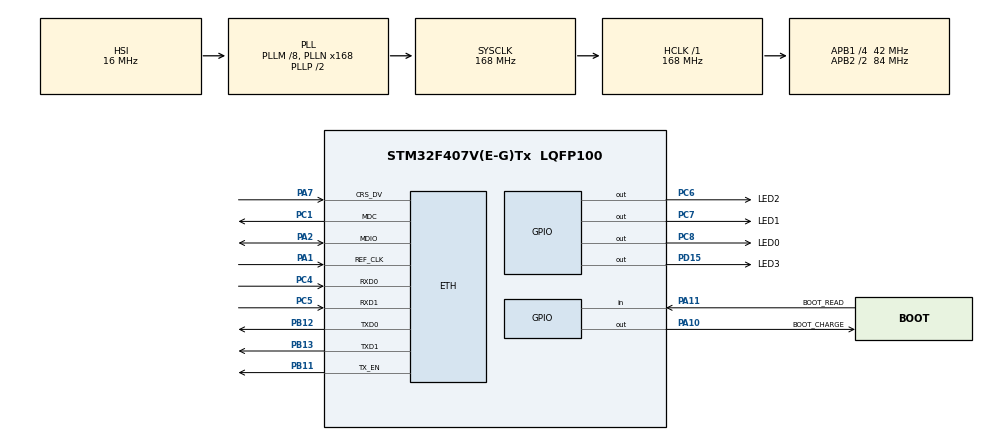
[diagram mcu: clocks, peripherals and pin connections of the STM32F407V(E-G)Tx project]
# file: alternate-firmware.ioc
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ETH.MediaInterface=HAL_ETH_RMII_MODE
ETH.PHY_DUPLEX_STATUS=0x0010
ETH.PHY_ISFR_INT4=0x0010
ETH.PHY_Name_RMII=LAN8742A_PHY_ADDRESS
ETH.PHY_SPEED_STATUS=0x0004
ETH.PHY_SR=0x1F
ETH.PhyAddress=0
FREERTOS.HEAP_NUMBER=4
FREERTOS.Tasks01=tcpTask,1,512,StartTCPTask,Default,NULL,Dynamic,NULL,NULL;heartbeatTask,0,256,StartHeartbeatTask,Default,NULL,Dynamic,NULL,NULL;rxMessages,-3,256,StartRXMessages,Default,NULL,Dynamic,NULL,NULL
FREERTOS.configMAX_PRIORITIES=16
FREERTOS.configMINIMAL_STACK_SIZE=128
FREERTOS.configTOTAL_HEAP_SIZE=0x6000
FREERTOS.configUSE_COUNTING_SEMAPHORES=1
FREERTOS.configUSE_NEWLIB_REENTRANT=1
LWIP.BSP.number=1
LWIP.CMSIS_VERSION-Enabled=1
LWIP.GATEWAY_ADDRESS=192.168.050.001
LWIP.IP_ADDRESS=192.168.050.010
LWIP.LWIP_DHCP=0
LWIP.LWIP_HTTPD=0
LWIP.LWIP_SO_RCVTIMEO=1
LWIP.LWIP_STATS=1
LWIP.LWIP_TFTP=0
LWIP.MEMP_NUM_NETBUF=8
LWIP.MEMP_NUM_NETCONN=8
LWIP.MEMP_NUM_TCP_PCB=8
LWIP.NETMASK_ADDRESS=255.255.255.000
LWIP.Version=v2.1.2_Cube
LWIP0.BSP.STBoard=false
LWIP0.BSP.api=BSP_COMPONENT_DRIVER
LWIP0.BSP.component=LAN8742
LWIP0.BSP.instance=LAN8742
LWIP0.BSP.name=Driver_PHY
LWIP0.BSP.semaphore=S_LAN8742
LWIP0.BSP.solution=LAN8742
Mcu.Family=STM32F4
Mcu.Name=STM32F407V(E-G)Tx
Mcu.Package=LQFP100
NVIC.ETH_IRQn=true\:5\:0\:false\:false\:true\:true\:false\:true\:true
NVIC.PriorityGroup=NVIC_PRIORITYGROUP_4
NVIC.TIM6_DAC_IRQn=true\:15\:0\:false\:false\:true\:false\:false\:true\:true
NVIC.TimeBase=TIM6_DAC_IRQn
NVIC.TimeBaseIP=TIM6
PA1.Mode=RMII
PA1.Signal=ETH_REF_CLK
PA10.GPIO_Label=BOOT_CHARGE
PA10.Signal=GPIO_Output
PA11.GPIO_Label=BOOT_READ
PA11.Signal=GPIO_Input
PA13.Mode=Trace_Asynchronous_SW
PA13.Signal=SYS_JTMS-SWDIO
PA14.Mode=Trace_Asynchronous_SW
PA14.Signal=SYS_JTCK-SWCLK
PA2.Mode=RMII
PA2.Signal=ETH_MDIO
PA7.Mode=RMII
PA7.Signal=ETH_CRS_DV
PB11.Mode=RMII
PB11.Signal=ETH_TX_EN
PB12.Mode=RMII
PB12.Signal=ETH_TXD0
PB13.Mode=RMII
PB13.Signal=ETH_TXD1
PB3.Mode=Trace_Asynchronous_SW
PB3.Signal=SYS_JTDO-SWO
PC1.Mode=RMII
PC1.Signal=ETH_MDC
PC4.Mode=RMII
PC4.Signal=ETH_RXD0
PC5.Mode=RMII
PC5.Signal=ETH_RXD1
PC6.GPIO_Label=LED2
PC6.Signal=GPIO_Output
PC7.GPIO_Label=LED1
PC7.Signal=GPIO_Output
PC8.GPIO_Label=LED0
PC8.Signal=GPIO_Output
PD15.GPIO_Label=LED3
PD15.Signal=GPIO_Output
PH0-OSC_IN.Mode=HSE-External-Clock-Source
PH0-OSC_IN.Signal=RCC_OSC_IN
PH1-OSC_OUT.Mode=HSE-External-Clock-Source
PH1-OSC_OUT.Signal=RCC_OSC_OUT
ProjectManager.HeapSize=0x10000
ProjectManager.StackSize=0x400
ProjectManager.TargetToolchain=STM32CubeIDE
RCC.48MHZClocksFreq_Value=84000000
RCC.AHBFreq_Value=168000000
RCC.APB1CLKDivider=RCC_HCLK_DIV4
RCC.APB1Freq_Value=42000000
RCC.APB1TimFreq_Value=84000000
RCC.APB2CLKDivider=RCC_HCLK_DIV2
RCC.APB2Freq_Value=84000000
RCC.APB2TimFreq_Value=168000000
RCC.CortexFreq_Value=168000000
RCC.HCLKFreq_Value=168000000
RCC.HSE_VALUE=50000000
RCC.HSI_VALUE=16000000
RCC.LSE_VALUE=32768
RCC.PLLM=8
RCC.PLLN=168
RCC.SYSCLKFreq_VALUE=168000000
RCC.SYSCLKSource=RCC_SYSCLKSOURCE_PLLCLK
RCC.VCOOutputFreq_Value=336000000
VP_FREERTOS_VS_CMSIS_V1.Mode=CMSIS_V1
VP_LWIP_VS_Enabled.Mode=Enabled
VP_RTC_VS_RTC_Activate.Mode=RTC_Enabled
VP_SYS_VS_tim6.Mode=TIM6
board=custom

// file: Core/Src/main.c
/* USER CODE BEGIN Header */
/**
 ******************************************************************************
 * @file           : main.c
 * @brief          : Main program body
 ******************************************************************************
 * @attention
 *
 * Copyright (c) 2023 STMicroelectronics.
 * All rights reserved.
 *
 * This software is licensed under terms that can be found in the LICENSE file
 * in the root directory of this software component.
 * If no LICENSE file comes with this software, it is provided AS-IS.
 *
 ******************************************************************************
 */
/* USER CODE END Header */
#include "main.h"
#include "cmsis_os.h"
#include "lwip.h"

/* USER CODE BEGIN Includes */
#include "tcpserver.h"
#include "tsqueue.h"
/* USER CODE END Includes */

RTC_HandleTypeDef hrtc;

osThreadId tcpTaskHandle;
osThreadId heartbeatTaskHandle;
osThreadId rxMessagesHandle;

void SystemClock_Config(void);
static void MX_GPIO_Init(void);
static void MX_RTC_Init(void);
void StartTCPTask(void const * argument);
void StartHeartbeatTask(void const * argument);
void StartRXMessages(void const * argument);

int main(void)
{

  /* MCU Configuration--------------------------------------------------------*/

  /* Reset of all peripherals, Initializes the Flash interface and the Systick. */
  HAL_Init();

  /* Configure the system clock */
  SystemClock_Config();

  /* Initialize all configured peripherals */
  MX_GPIO_Init();
  MX_RTC_Init();

  /* Create the thread(s) */
  /* definition and creation of tcpTask */
  osThreadDef(tcpTask, StartTCPTask, osPriorityAboveNormal, 0, 512);
  tcpTaskHandle = osThreadCreate(osThread(tcpTask), NULL);

  /* definition and creation of heartbeatTask */
  osThreadDef(heartbeatTask, StartHeartbeatTask, osPriorityNormal, 0, 256);
  heartbeatTaskHandle = osThreadCreate(osThread(heartbeatTask), NULL);

  /* definition and creation of rxMessages */
  osThreadDef(rxMessages, StartRXMessages, osPriorityIdle, 0, 256);
  rxMessagesHandle = osThreadCreate(osThread(rxMessages), NULL);

  /* Start scheduler */
  osKernelStart();

  /* We should never get here as control is now taken by the scheduler */
  /* Infinite loop */
	while (1) {

	}
}

void SystemClock_Config(void)
{
  RCC_OscInitTypeDef RCC_OscInitStruct = {0};
  RCC_ClkInitTypeDef RCC_ClkInitStruct = {0};

  /** Configure the main internal regulator output voltage
  */
  __HAL_RCC_PWR_CLK_ENABLE();
  __HAL_PWR_VOLTAGESCALING_CONFIG(PWR_REGULATOR_VOLTAGE_SCALE1);

  /** Initializes the RCC Oscillators according to the specified parameters
  * in the RCC_OscInitTypeDef structure.
  */
  RCC_OscInitStruct.OscillatorType = RCC_OSCILLATORTYPE_HSI|RCC_OSCILLATORTYPE_LSI;
  RCC_OscInitStruct.HSIState = RCC_HSI_ON;
  RCC_OscInitStruct.HSICalibrationValue = RCC_HSICALIBRATION_DEFAULT;
  RCC_OscInitStruct.LSIState = RCC_LSI_ON;
  RCC_OscInitStruct.PLL.PLLState = RCC_PLL_ON;
  RCC_OscInitStruct.PLL.PLLSource = RCC_PLLSOURCE_HSI;
  RCC_OscInitStruct.PLL.PLLM = 8;
  RCC_OscInitStruct.PLL.PLLN = 168;
  RCC_OscInitStruct.PLL.PLLP = RCC_PLLP_DIV2;
  RCC_OscInitStruct.PLL.PLLQ = 4;
  if (HAL_RCC_OscConfig(&RCC_OscInitStruct) != HAL_OK)
  {
    Error_Handler();
  }

  /** Initializes the CPU, AHB and APB buses clocks
  */
  RCC_ClkInitStruct.ClockType = RCC_CLOCKTYPE_HCLK|RCC_CLOCKTYPE_SYSCLK
                              |RCC_CLOCKTYPE_PCLK1|RCC_CLOCKTYPE_PCLK2;
  RCC_ClkInitStruct.SYSCLKSource = RCC_SYSCLKSOURCE_PLLCLK;
  RCC_ClkInitStruct.AHBCLKDivider = RCC_SYSCLK_DIV1;
  RCC_ClkInitStruct.APB1CLKDivider = RCC_HCLK_DIV4;
  RCC_ClkInitStruct.APB2CLKDivider = RCC_HCLK_DIV2;

  if (HAL_RCC_ClockConfig(&RCC_ClkInitStruct, FLASH_LATENCY_5) != HAL_OK)
  {
    Error_Handler();
  }
}

static void MX_RTC_Init(void)
{

  /** Initialize RTC Only
  */
  hrtc.Instance = RTC;
  hrtc.Init.HourFormat = RTC_HOURFORMAT_24;
  hrtc.Init.AsynchPrediv = 127;
  hrtc.Init.SynchPrediv = 255;
  hrtc.Init.OutPut = RTC_OUTPUT_DISABLE;
  hrtc.Init.OutPutPolarity = RTC_OUTPUT_POLARITY_HIGH;
  hrtc.Init.OutPutType = RTC_OUTPUT_TYPE_OPENDRAIN;
  if (HAL_RTC_Init(&hrtc) != HAL_OK)
  {
    Error_Handler();
  }

}

static void MX_GPIO_Init(void)
{
  GPIO_InitTypeDef GPIO_InitStruct = {0};

  /* GPIO Ports Clock Enable */
  __HAL_RCC_GPIOH_CLK_ENABLE();
  __HAL_RCC_GPIOC_CLK_ENABLE();
  __HAL_RCC_GPIOA_CLK_ENABLE();
  __HAL_RCC_GPIOB_CLK_ENABLE();
  __HAL_RCC_GPIOD_CLK_ENABLE();

  /*Configure GPIO pin Output Level */
  HAL_GPIO_WritePin(LED3_GPIO_Port, LED3_Pin, GPIO_PIN_RESET);

  /*Configure GPIO pin Output Level */
  HAL_GPIO_WritePin(GPIOC, LED2_Pin|LED1_Pin|LED0_Pin, GPIO_PIN_RESET);

  /*Configure GPIO pin Output Level */
  HAL_GPIO_WritePin(BOOT_CHARGE_GPIO_Port, BOOT_CHARGE_Pin, GPIO_PIN_RESET);

  /*Configure GPIO pin : LED3_Pin */
  GPIO_InitStruct.Pin = LED3_Pin;
  GPIO_InitStruct.Mode = GPIO_MODE_OUTPUT_PP;
  GPIO_InitStruct.Pull = GPIO_NOPULL;
  GPIO_InitStruct.Speed = GPIO_SPEED_FREQ_LOW;
  HAL_GPIO_Init(LED3_GPIO_Port, &GPIO_InitStruct);

  /*Configure GPIO pins : LED2_Pin LED1_Pin LED0_Pin */
  GPIO_InitStruct.Pin = LED2_Pin|LED1_Pin|LED0_Pin;
  GPIO_InitStruct.Mode = GPIO_MODE_OUTPUT_PP;
  GPIO_InitStruct.Pull = GPIO_NOPULL;
  GPIO_InitStruct.Speed = GPIO_SPEED_FREQ_LOW;
  HAL_GPIO_Init(GPIOC, &GPIO_InitStruct);

  /*Configure GPIO pin : BOOT_CHARGE_Pin */
  GPIO_InitStruct.Pin = BOOT_CHARGE_Pin;
  GPIO_InitStruct.Mode = GPIO_MODE_OUTPUT_PP;
  GPIO_InitStruct.Pull = GPIO_NOPULL;
  GPIO_InitStruct.Speed = GPIO_SPEED_FREQ_LOW;
  HAL_GPIO_Init(BOOT_CHARGE_GPIO_Port, &GPIO_InitStruct);

  /*Configure GPIO pin : BOOT_READ_Pin */
  GPIO_InitStruct.Pin = BOOT_READ_Pin;
  GPIO_InitStruct.Mode = GPIO_MODE_INPUT;
  GPIO_InitStruct.Pull = GPIO_NOPULL;
  HAL_GPIO_Init(BOOT_READ_GPIO_Port, &GPIO_InitStruct);

}

/* USER CODE BEGIN 4 */
/**
 * @brief  Function implementing the TCPTask thread.
 * @param  argument: Not used
 * @retval None
 */
/* USER CODE END Header_StartTCPTask */

/* USER CODE END 4 */

void StartTCPTask(void const * argument)
{
  /* init code for LWIP */
  MX_LWIP_Init();
  /* USER CODE BEGIN 5 */

  server_init();

	/* Infinite loop */
	for (;;) {
		osDelay(1);
	}
  /* USER CODE END 5 */
}

void StartHeartbeatTask(void const * argument)
{
  /* USER CODE BEGIN StartHeartbeatTask */
  /* Infinite loop */
  for(;;)
  {
	  /*
	   *  Heartbeat LED0
	   */
	  HAL_GPIO_TogglePin(LED0_GPIO_Port, LED0_Pin);

	  char* msg = malloc(12);
	  memcpy(msg, "heartbeat\r\n", 12);

	  server_sendMsg(ALL_CONNECTIONS,  msg, 12);

	  osDelay(500);

  }
  /* USER CODE END StartHeartbeatTask */
}

void StartRXMessages(void const * argument)
{
  /* USER CODE BEGIN StartRXMessages */

	char ret_buf[MAX_MSG_LEN];
	char buf[MAX_MSG_LEN];

	u16_t ret_len = 0;

  /* Infinite loop */
  for(;;)
  {
	struct message msg = {-1, buf, MAX_MSG_LEN};
	server_retrieveMsg(&msg);
	parse_t rc = devparse(msg.buf, msg.len, ret_buf, &ret_len, msg.connfd);

	if (ret_len > 0) {
		server_sendMsg(msg.connfd, ret_buf, ret_len);
	}

	osDelay(1);
  }
  /* USER CODE END StartRXMessages */
}

void HAL_TIM_PeriodElapsedCallback(TIM_HandleTypeDef *htim)
{
  if (htim->Instance == TIM6) {
    HAL_IncTick();
  }
}

void Error_Handler(void)
{
	__disable_irq();
	while (1) {
	}
}
